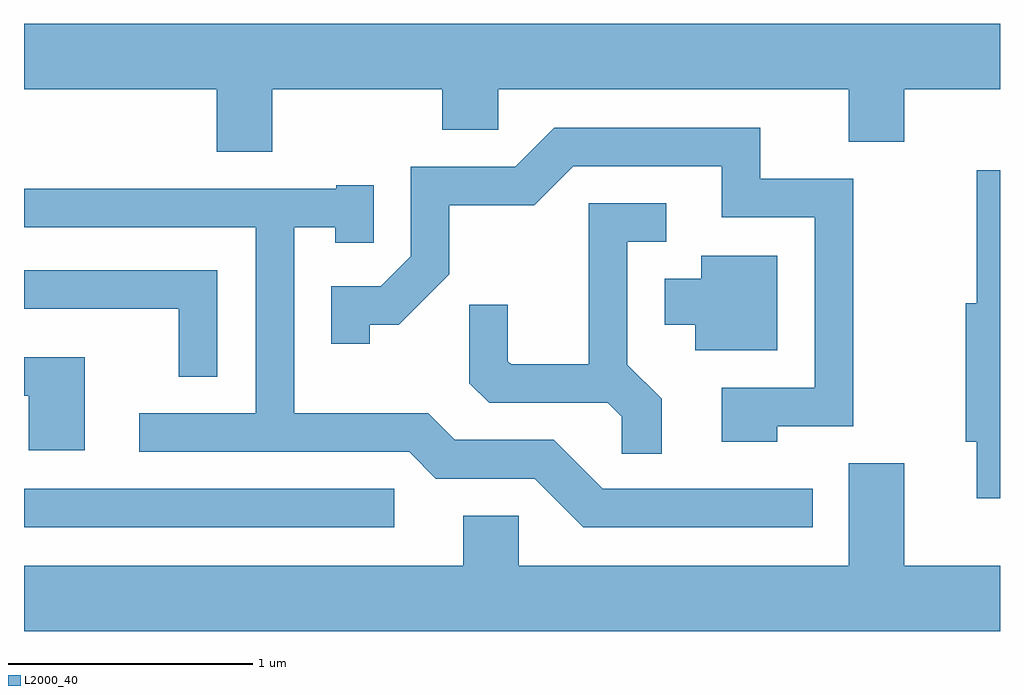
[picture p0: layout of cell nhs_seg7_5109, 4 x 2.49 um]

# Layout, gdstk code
import gdstk
lib = gdstk.Library(unit=1e-6, precision=1e-09)
def R(c, l, rs):  # rectangles x0, y0, x1, y1
    for r in rs: c.add(gdstk.rectangle(r[:2], r[2:], *l))
def P(c, l, *ps):  # polygons
    for p in ps: c.add(gdstk.Polygon(p, *l))
L2000_40 = (2000, 40)

nhs_seg7_5109 = lib.new_cell('nhs_seg7_5109')
R(nhs_seg7_5109, L2000_40, [(341.611,1719.181,343.128,1719.339)])
P(nhs_seg7_5109, L2000_40, [(342.629,1720.976),(343.326,1720.976),(343.326,1720.811),(343.554,1720.811),(343.554,1720.976),(344.991,1720.976),(344.991,1720.761),(345.219,1720.761),(345.219,1720.976),(345.611,1720.976),(345.611,1721.244),(341.611,1721.244),(341.611,1720.976),(342.401,1720.976),(342.401,1720.721),(342.629,1720.721)],
  [(344.699,1719.596),(345.009,1719.596),(345.009,1720.609),(344.629,1720.609),(344.629,1720.819),(343.784,1720.819),(343.624,1720.659),(343.196,1720.659),(343.196,1720.292),(343.074,1720.169),(342.871,1720.169),(342.871,1719.933),(343.029,1719.933),(343.029,1720.011),(343.147,1720.011),(343.354,1720.219),(343.354,1720.501),(343.702,1720.501),(343.862,1720.661),(344.471,1720.661),(344.471,1720.451),(344.851,1720.451),(344.851,1719.754),(344.471,1719.754),(344.471,1719.531),(344.699,1719.531)],
  [(345.611,1720.644),(345.516,1720.644),(345.516,1720.099),(345.471,1720.099),(345.471,1719.531),(345.516,1719.531),(345.516,1719.301),(345.611,1719.301)],
  [(344.843,1719.339),(343.982,1719.339),(343.782,1719.539),(343.377,1719.539),(343.267,1719.649),(342.719,1719.649),(342.719,1720.411),(342.886,1720.411),(342.886,1720.348),(343.044,1720.348),(343.044,1720.584),(342.89,1720.584),(342.89,1720.569),(341.611,1720.569),(341.611,1720.411),(342.561,1720.411),(342.561,1719.649),(342.083,1719.649),(342.083,1719.491),(343.189,1719.491),(343.299,1719.381),(343.704,1719.381),(343.904,1719.181),(344.843,1719.181)],
  [(344.224,1719.707),(344.084,1719.847),(344.084,1720.351),(344.243,1720.351),(344.243,1720.509),(343.926,1720.509),(343.926,1719.849),(343.607,1719.849),(343.594,1719.862),(343.594,1720.093),(343.436,1720.093),(343.436,1719.772),(343.517,1719.691),(344.004,1719.691),(344.061,1719.634),(344.061,1719.483),(344.224,1719.483)],
  [(344.699,1720.294),(344.386,1720.294),(344.386,1720.199),(344.236,1720.199),(344.236,1720.011),(344.361,1720.011),(344.361,1719.906),(344.699,1719.906)],
  [(342.404,1720.234),(341.611,1720.234),(341.611,1720.076),(342.246,1720.076),(342.246,1719.798),(342.404,1719.798)],
  [(341.859,1719.879),(341.611,1719.879),(341.611,1719.721),(341.631,1719.721),(341.631,1719.496),(341.859,1719.496)],
  [(345.611,1719.024),(345.219,1719.024),(345.219,1719.444),(344.991,1719.444),(344.991,1719.024),(343.639,1719.024),(343.639,1719.229),(343.411,1719.229),(343.411,1719.024),(341.611,1719.024),(341.611,1718.756),(345.611,1718.756)])

lib.write_gds('nhs_seg7_5109.gds')
